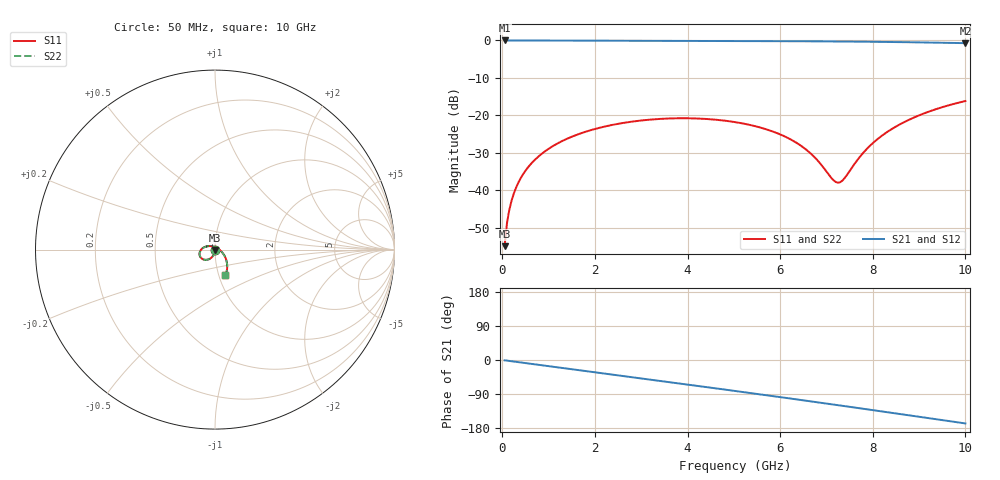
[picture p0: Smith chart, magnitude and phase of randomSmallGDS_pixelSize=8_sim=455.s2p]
! freq	dB(S11)	phase(S11)	dB(S12)	phase(S12)
!  dB(S21)	phase(S21)	dB(S22)	phase(S22)
!S-par simulation data
#  GHz  S  DB  R 50
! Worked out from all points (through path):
!   200 points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, 50 MHz to 10 GHz, reference 50 ohm
!   highest |S21| = 0.00 dB at 50 MHz (marker M1); lowest = -0.7 dB at 10 GHz (marker M2)
!   group delay of S21, straight-line fit = 46.3 ps
!   lowest |S11| = -54.9 dB at 50 MHz (marker M3), VSWR 1.00, Z = 50 - j0.179 ohm
!   |S11| at or under -10 dB: start of sweep to end of sweep
!   |S22| runs from -54.9 to -16.2 dB; largest |S21 - S12| = 0
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0.05  -54.92 -90.5  -0.00 -0.8  -0.00 -0.8  -54.92 -90.5
0.1  -48.86 -92.0  -0.00 -1.6  -0.00 -1.6  -48.86 -92.0
0.15  -45.30 -93.1  -0.00 -2.5  -0.00 -2.5  -45.30 -93.1
0.2  -42.78 -94.0  -0.00 -3.3  -0.00 -3.3  -42.78 -94.0
0.35  -37.87 -96.5  -0.00 -5.7  -0.00 -5.7  -37.87 -96.5
0.5  -34.78 -99.0  -0.01 -8.2  -0.01 -8.2  -34.78 -99.0
0.7  -31.90 -102.3  -0.01 -11.4  -0.01 -11.4  -31.90 -102.3
1  -28.92 -107.2  -0.02 -16.3  -0.02 -16.3  -28.92 -107.2
1.75  -24.57 -119.7  -0.05 -28.4  -0.05 -28.4  -24.57 -119.7
2.5  -22.26 -132.1  -0.07 -40.5  -0.07 -40.5  -22.26 -132.1
3.4  -20.95 -147.1  -0.10 -55.1  -0.10 -55.1  -20.95 -147.1
4.25  -20.86 -161.8  -0.13 -68.9  -0.13 -68.9  -20.86 -161.8
5.05  -21.85 -176.4  -0.15 -82.1  -0.15 -82.1  -21.85 -176.4
6  -25.08 163.3  -0.19 -97.9  -0.19 -97.9  -25.08 163.3
6.4  -27.69 151.7  -0.21 -104.7  -0.21 -104.7  -27.69 151.7
6.7  -30.65 138.9  -0.23 -109.8  -0.23 -109.8  -30.65 138.9
7.15  -37.30 89.0  -0.26 -117.5  -0.26 -117.5  -37.29 88.9
7.3  -37.82 53.1  -0.28 -120.1  -0.28 -120.1  -37.81 53.2
7.85  -29.23 -14.1  -0.33 -129.6  -0.33 -129.6  -29.23 -14.0
8.35  -24.12 -32.5  -0.40 -138.4  -0.40 -138.4  -24.12 -32.5
9.1  -19.51 -50.4  -0.53 -151.5  -0.53 -151.5  -19.50 -50.4
10  -16.17 -68.1  -0.72 -167.4  -0.72 -167.4  -16.17 -68.1
